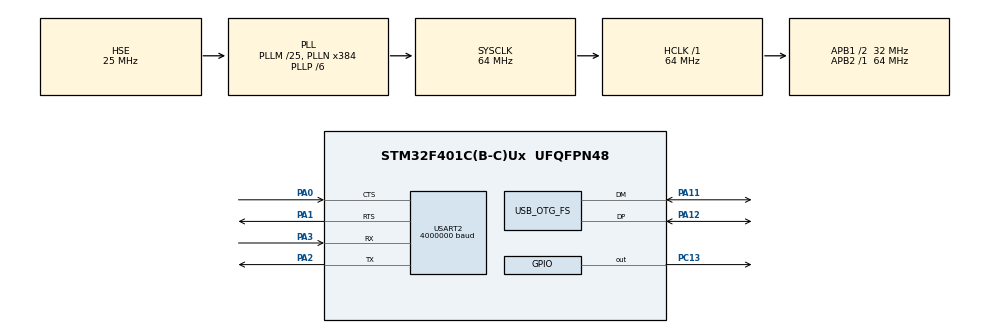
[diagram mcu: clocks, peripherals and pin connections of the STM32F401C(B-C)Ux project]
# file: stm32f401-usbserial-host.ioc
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Dma.Request0=USART2_RX
Dma.Request1=USART2_TX
Dma.USART2_RX.0.Direction=DMA_PERIPH_TO_MEMORY
Dma.USART2_RX.0.FIFOMode=DMA_FIFOMODE_DISABLE
Dma.USART2_RX.0.Instance=DMA1_Stream5
Dma.USART2_RX.0.MemDataAlignment=DMA_MDATAALIGN_BYTE
Dma.USART2_RX.0.MemInc=DMA_MINC_ENABLE
Dma.USART2_RX.0.Mode=DMA_CIRCULAR
Dma.USART2_RX.0.PeriphDataAlignment=DMA_PDATAALIGN_BYTE
Dma.USART2_RX.0.PeriphInc=DMA_PINC_DISABLE
Dma.USART2_RX.0.Priority=DMA_PRIORITY_LOW
Dma.USART2_TX.1.Direction=DMA_MEMORY_TO_PERIPH
Dma.USART2_TX.1.FIFOMode=DMA_FIFOMODE_DISABLE
Dma.USART2_TX.1.Instance=DMA1_Stream6
Dma.USART2_TX.1.MemDataAlignment=DMA_MDATAALIGN_BYTE
Dma.USART2_TX.1.MemInc=DMA_MINC_ENABLE
Dma.USART2_TX.1.Mode=DMA_NORMAL
Dma.USART2_TX.1.PeriphDataAlignment=DMA_PDATAALIGN_BYTE
Dma.USART2_TX.1.PeriphInc=DMA_PINC_DISABLE
Dma.USART2_TX.1.Priority=DMA_PRIORITY_LOW
Mcu.Family=STM32F4
Mcu.Name=STM32F401C(B-C)Ux
Mcu.Package=UFQFPN48
NVIC.DMA1_Stream5_IRQn=true\:0\:0\:false\:false\:true\:false\:true
NVIC.DMA1_Stream6_IRQn=true\:0\:0\:false\:false\:true\:false\:true
NVIC.OTG_FS_IRQn=true\:0\:0\:false\:false\:true\:false\:true
NVIC.PriorityGroup=NVIC_PRIORITYGROUP_4
NVIC.USART2_IRQn=true\:0\:0\:false\:false\:true\:true\:true
PA0-WKUP.Mode=CTS_RTS
PA0-WKUP.Signal=USART2_CTS
PA1.Mode=CTS_RTS
PA1.Signal=USART2_RTS
PA11.Mode=Host_Only
PA11.Signal=USB_OTG_FS_DM
PA12.Mode=Host_Only
PA12.Signal=USB_OTG_FS_DP
PA13.Mode=Trace_Asynchronous_SW
PA13.Signal=SYS_JTMS-SWDIO
PA14.Mode=Trace_Asynchronous_SW
PA14.Signal=SYS_JTCK-SWCLK
PA2.Mode=Asynchronous
PA2.Signal=USART2_TX
PA3.Mode=Asynchronous
PA3.Signal=USART2_RX
PB3.Mode=Trace_Asynchronous_SW
PB3.Signal=SYS_JTDO-SWO
PC13-ANTI_TAMP.Signal=GPIO_Output
PC14-OSC32_IN.Mode=LSE-External-Oscillator
PC14-OSC32_IN.Signal=RCC_OSC32_IN
PC15-OSC32_OUT.Mode=LSE-External-Oscillator
PC15-OSC32_OUT.Signal=RCC_OSC32_OUT
PH0\ -\ OSC_IN.Mode=HSE-External-Oscillator
PH0\ -\ OSC_IN.Signal=RCC_OSC_IN
PH1\ -\ OSC_OUT.Mode=HSE-External-Oscillator
PH1\ -\ OSC_OUT.Signal=RCC_OSC_OUT
ProjectManager.HeapSize=0x200
ProjectManager.StackSize=0x400
ProjectManager.TargetToolchain=Makefile
RCC.48MHZClocksFreq_Value=48000000
RCC.AHBFreq_Value=64000000
RCC.APB1CLKDivider=RCC_HCLK_DIV2
RCC.APB1Freq_Value=32000000
RCC.APB1TimFreq_Value=64000000
RCC.APB2Freq_Value=64000000
RCC.APB2TimFreq_Value=64000000
RCC.CortexFreq_Value=64000000
RCC.HCLKFreq_Value=64000000
RCC.HSE_VALUE=25000000
RCC.HSI_VALUE=16000000
RCC.PLLM=25
RCC.PLLN=384
RCC.PLLP=RCC_PLLP_DIV6
RCC.PLLQ=8
RCC.SYSCLKFreq_VALUE=64000000
RCC.SYSCLKSource=RCC_SYSCLKSOURCE_PLLCLK
RCC.VCOOutputFreq_Value=384000000
USART2.BaudRate=4000000
USART2.OverSampling=UART_OVERSAMPLING_8
USART2.VirtualMode=VM_ASYNC
USB_HOST.USBH_HandleTypeDef=hUsbHostFS
USB_HOST.VirtualModeFS=Cdc
USB_OTG_FS.VirtualMode=Host_Only
USB_OTG_FS.phy_itface=HCD_PHY_EMBEDDED
VP_USB_HOST_VS_USB_HOST_CDC_FS.Mode=CDC_FS
board=custom

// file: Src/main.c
/* USER CODE BEGIN Header */
/**
  ******************************************************************************
  * @file           : main.c
  * @brief          : Main program body
  ******************************************************************************
  * @attention
  *
  * <h2><center>&copy; Copyright (c) 2020 STMicroelectronics.
  * All rights reserved.</center></h2>
  *
  * This software component is licensed by ST under Ultimate Liberty license
  * SLA0044, the "License"; You may not use this file except in compliance with
  * the License. You may obtain a copy of the License at:
  *                             www.st.com/SLA0044
  *
  ******************************************************************************
  */
/* USER CODE END Header */

#include "main.h"
#include "usb_host.h"

/* USER CODE BEGIN Includes */
#include <stdio.h>
#include "usbh_core.h"
#include "usbh_cdc.h"
/* USER CODE END Includes */

UART_HandleTypeDef huart2;
DMA_HandleTypeDef hdma_usart2_rx;
DMA_HandleTypeDef hdma_usart2_tx;

/* USER CODE BEGIN PV */
extern USBH_HandleTypeDef hUsbHostFS;
extern ApplicationTypeDef Appli_state;
uint8_t usbRxBuffer[RX_BUFFER_SIZE];
uint8_t usbTxBuffer[TX_BUFFER_SIZE];
uint8_t uartRxBuffer[RX_BUFFER_SIZE];
uint8_t uartTxBuffer[TX_BUFFER_SIZE];
size_t dma_read_index = 0;
static uint8_t transmitting = 0;

#define DMA_WRITE_INDEX(handle) ( (RX_BUFFER_SIZE - (handle)->hdmarx->Instance->NDTR) % (RX_BUFFER_SIZE) )

/* USER CODE END PV */

void SystemClock_Config(void);
static void MX_DMA_Init(void);
static void MX_GPIO_Init(void);
static void MX_USART2_UART_Init(void);
void MX_USB_HOST_Process(void);

int main(void)
{

  /* MCU Configuration--------------------------------------------------------*/

  /* Reset of all peripherals, Initializes the Flash interface and the Systick. */
  HAL_Init();

  /* Configure the system clock */
  SystemClock_Config();

  /* Initialize all configured peripherals */
  MX_DMA_Init();
  MX_GPIO_Init();
  MX_USART2_UART_Init();
  MX_USB_HOST_Init();
  /* USER CODE BEGIN 2 */
  printf("initialized %lu\r\n", (unsigned long)SystemCoreClock);

  // __HAL_UART_DISABLE_IT(&huart2, UART_IT_PE);
  //__HAL_UART_DISABLE_IT(&huart2, UART_IT_ERR);
  HAL_UART_Receive_DMA(&huart2, uartRxBuffer, RX_BUFFER_SIZE);
  huart2.hdmarx->XferCpltCallback = NULL;

  /* USER CODE END 2 */

  /* Infinite loop */
  while (1)
  {
    MX_USB_HOST_Process();

    /* USER CODE BEGIN 3 */
    /*
    if (HAL_UART_Transmit(&huart2, "foo\r\n", 5, 100) != HAL_OK) {
        printf("failed to transmit\r\n");
    }
    */
   /*
    uint8_t buf[5] = "foo\r\n";
    if (HAL_UART_Transmit_DMA(&huart2, buf, 5) != HAL_OK) {
        printf("failed to transmit DMA\r\n");
    }
    HAL_Delay(1000);
    */

    // uart to usb
    if (!transmitting) {
        size_t read_size = 0;
        size_t prev_dma_read_index = dma_read_index;
        while (dma_read_index != DMA_WRITE_INDEX(&huart2)) {
            uint8_t byte = uartRxBuffer[dma_read_index];
            dma_read_index = (dma_read_index + 1) % RX_BUFFER_SIZE;
            usbTxBuffer[read_size] = byte;
            read_size++;
        }
        if (read_size > 0) {
            usbTxBuffer[read_size] = 0;
            // printf("read %u bytes from uart %s\r\n", (unsigned int)read_size, usbTxBuffer);
            if (Appli_state == APPLICATION_READY) {
              if (USBH_CDC_Transmit(&hUsbHostFS, usbTxBuffer, read_size) == USBH_OK) {
                  transmitting = 1;
              } else {
                  printf("cdc transmit failed\r\n");
                  dma_read_index = prev_dma_read_index;
              }
            }
        }
    }
  }
  /* USER CODE END 3 */
}

void SystemClock_Config(void)
{
  RCC_OscInitTypeDef RCC_OscInitStruct = {0};
  RCC_ClkInitTypeDef RCC_ClkInitStruct = {0};

  /** Configure the main internal regulator output voltage
  */
  __HAL_RCC_PWR_CLK_ENABLE();
  __HAL_PWR_VOLTAGESCALING_CONFIG(PWR_REGULATOR_VOLTAGE_SCALE2);
  /** Initializes the CPU, AHB and APB busses clocks
  */
  RCC_OscInitStruct.OscillatorType = RCC_OSCILLATORTYPE_HSE;
  RCC_OscInitStruct.HSEState = RCC_HSE_ON;
  RCC_OscInitStruct.PLL.PLLState = RCC_PLL_ON;
  RCC_OscInitStruct.PLL.PLLSource = RCC_PLLSOURCE_HSE;
  RCC_OscInitStruct.PLL.PLLM = 25;
  RCC_OscInitStruct.PLL.PLLN = 384;
  RCC_OscInitStruct.PLL.PLLP = RCC_PLLP_DIV6;
  RCC_OscInitStruct.PLL.PLLQ = 8;
  if (HAL_RCC_OscConfig(&RCC_OscInitStruct) != HAL_OK)
  {
    Error_Handler();
  }
  /** Initializes the CPU, AHB and APB busses clocks
  */
  RCC_ClkInitStruct.ClockType = RCC_CLOCKTYPE_HCLK|RCC_CLOCKTYPE_SYSCLK
                              |RCC_CLOCKTYPE_PCLK1|RCC_CLOCKTYPE_PCLK2;
  RCC_ClkInitStruct.SYSCLKSource = RCC_SYSCLKSOURCE_PLLCLK;
  RCC_ClkInitStruct.AHBCLKDivider = RCC_SYSCLK_DIV1;
  RCC_ClkInitStruct.APB1CLKDivider = RCC_HCLK_DIV2;
  RCC_ClkInitStruct.APB2CLKDivider = RCC_HCLK_DIV1;

  if (HAL_RCC_ClockConfig(&RCC_ClkInitStruct, FLASH_LATENCY_2) != HAL_OK)
  {
    Error_Handler();
  }
}

static void MX_USART2_UART_Init(void)
{

  huart2.Instance = USART2;
  huart2.Init.BaudRate = 4000000;
  huart2.Init.WordLength = UART_WORDLENGTH_8B;
  huart2.Init.StopBits = UART_STOPBITS_1;
  huart2.Init.Parity = UART_PARITY_NONE;
  huart2.Init.Mode = UART_MODE_TX_RX;
  huart2.Init.HwFlowCtl = UART_HWCONTROL_RTS_CTS;
  huart2.Init.OverSampling = UART_OVERSAMPLING_8;
  if (HAL_UART_Init(&huart2) != HAL_OK)
  {
    Error_Handler();
  }

}

static void MX_DMA_Init(void)
{

  /* DMA controller clock enable */
  __HAL_RCC_DMA1_CLK_ENABLE();

  /* DMA interrupt init */
  /* DMA1_Stream5_IRQn interrupt configuration */
  HAL_NVIC_SetPriority(DMA1_Stream5_IRQn, 0, 0);
  HAL_NVIC_EnableIRQ(DMA1_Stream5_IRQn);
  /* DMA1_Stream6_IRQn interrupt configuration */
  HAL_NVIC_SetPriority(DMA1_Stream6_IRQn, 0, 0);
  HAL_NVIC_EnableIRQ(DMA1_Stream6_IRQn);

}

static void MX_GPIO_Init(void)
{
  GPIO_InitTypeDef GPIO_InitStruct = {0};

  /* GPIO Ports Clock Enable */
  __HAL_RCC_GPIOC_CLK_ENABLE();
  __HAL_RCC_GPIOH_CLK_ENABLE();
  __HAL_RCC_GPIOA_CLK_ENABLE();
  __HAL_RCC_GPIOB_CLK_ENABLE();

  /*Configure GPIO pin Output Level */
  HAL_GPIO_WritePin(GPIOC, GPIO_PIN_13, GPIO_PIN_RESET);

  /*Configure GPIO pin : PC13 */
  GPIO_InitStruct.Pin = GPIO_PIN_13;
  GPIO_InitStruct.Mode = GPIO_MODE_OUTPUT_PP;
  GPIO_InitStruct.Pull = GPIO_NOPULL;
  GPIO_InitStruct.Speed = GPIO_SPEED_FREQ_LOW;
  HAL_GPIO_Init(GPIOC, &GPIO_InitStruct);

}

/* USER CODE BEGIN 4 */
int _write(int file, char *ptr, int len) {
	for(int i = 0; i < len; i++) {
		ITM_SendChar(*ptr++);
	}
	return len;
}

void USBH_CDC_TransmitCallback(USBH_HandleTypeDef *phost)
{
    transmitting = 0;
}

/* USER CODE END 4 */

void Error_Handler(void)
{
}

/************************ (C) COPYRIGHT STMicroelectronics *****END OF FILE****/
